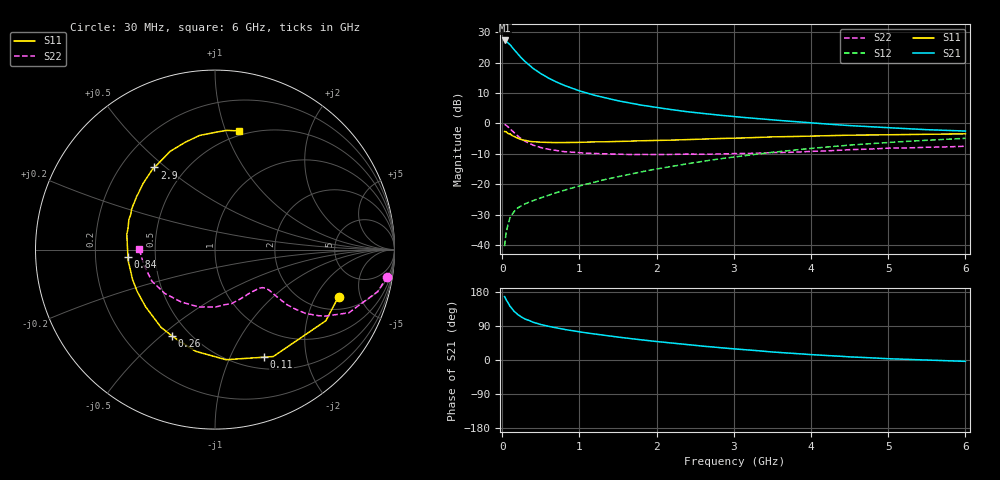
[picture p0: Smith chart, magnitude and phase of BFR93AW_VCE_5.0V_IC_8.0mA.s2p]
! Infineon Technologies  Discrete & RF Semiconductors
! BFR93AW
! VCE =  5.0 V,  IC =  8.0 mA
! Common Emitter S-Parameters:  Nov 2015
# GHz  S  MA  R  50
!  f  S11  S21  S12  S22
! GHz  MAG  ANG  MAG  ANG  MAG  ANG  MAG  ANG
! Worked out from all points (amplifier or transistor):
!   206 points, 30 MHz to 6 GHz, reference 50 ohm
!   highest |S21| = 27.3 dB at 30 MHz (marker M1)
!   |S21| within 3 dB of that: start of sweep to 152.2 MHz
!   unconditionally stable (mu >= 1): 808.9 MHz to 2.229 GHz
!   at 200 MHz: K = 0.42, MSG = 25.3 dB, |S12| = -27.8 dB
!   at 1.56 GHz: K = 1.07, MAG = 10.6 dB, |S12| = -17.2 dB
!   at 6 GHz: K = 0.90, MSG = 1.2 dB, |S12| = -4.9 dB
!   S11 on the Smith chart (normalised r, x): 30 MHz: 2.77, -3.16; 110 MHz: 0.64, -1.35; 260 MHz: 0.40, -0.55; 840 MHz: 0.35, -0.04; 2.9 GHz: 0.34, +0.46; 6 GHz: 0.46, +1.11
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0.03  0.7365 -20.8  23.16 167.3  0.0096 79.6  0.9712 -8.9
0.05  0.7339 -32.7  22.63 158.9  0.016 75.7  0.9368 -14.5
0.1  0.6785 -61.4  19.8 141.8  0.0281 62.8  0.8245 -25.3
0.11  0.6582 -65.6  19.07 139.6  0.0295 61.2  0.8009 -26.4
0.15  0.6166 -84.3  16.52 128.9  0.0354 56.2  0.7098 -31.6
0.195  0.5785 -99.0  14.17 120.9  0.0403 52.7  0.6299 -34.7
0.24  0.5466 -111.5  12.24 114.5  0.0438 51.3  0.5664 -36.3
0.26  0.5378 -116.3  11.52 112.0  0.0452 51.0  0.5432 -36.8
0.3  0.5271 -124.8  10.27 107.6  0.048 50.4  0.5051 -37.4
0.4  0.5007 -140.7  8.016 99.5  0.0539 50.9  0.4392 -37.3
0.5  0.4922 -151.8  6.579 93.5  0.0599 53.1  0.3991 -37.1
0.6  0.4887 -160.0  5.55 88.7  0.0661 55.5  0.3754 -36.8
0.7  0.4846 -167.1  4.819 84.6  0.0729 57.4  0.3595 -37.2
0.84  0.4872 -174.9  4.062 79.6  0.0823 59.9  0.3419 -38.4
1.04  0.4902 175.9  3.318 73.1  0.0969 62.2  0.3283 -41.0
1.5  0.5085 160.7  2.358 60.5  0.1333 65.4  0.3136 -49.9
2.02  0.527 146.2  1.812 48.3  0.1803 65.6  0.3092 -63.1
2.9  0.5684 126.4  1.334 31.2  0.27 61.3  0.3168 -86.7
3.1  0.5766 122.3  1.264 27.9  0.2909 59.7  0.32 -92.7
4.1  0.6236 104.0  1 13.1  0.399 49.8  0.35 -126.4
5.1  0.6541 89.5  0.839 2.7  0.4959 37.8  0.3934 -156.3
6  0.6743 78.6  0.75 -3.6  0.5697 27.2  0.4225 179.3
